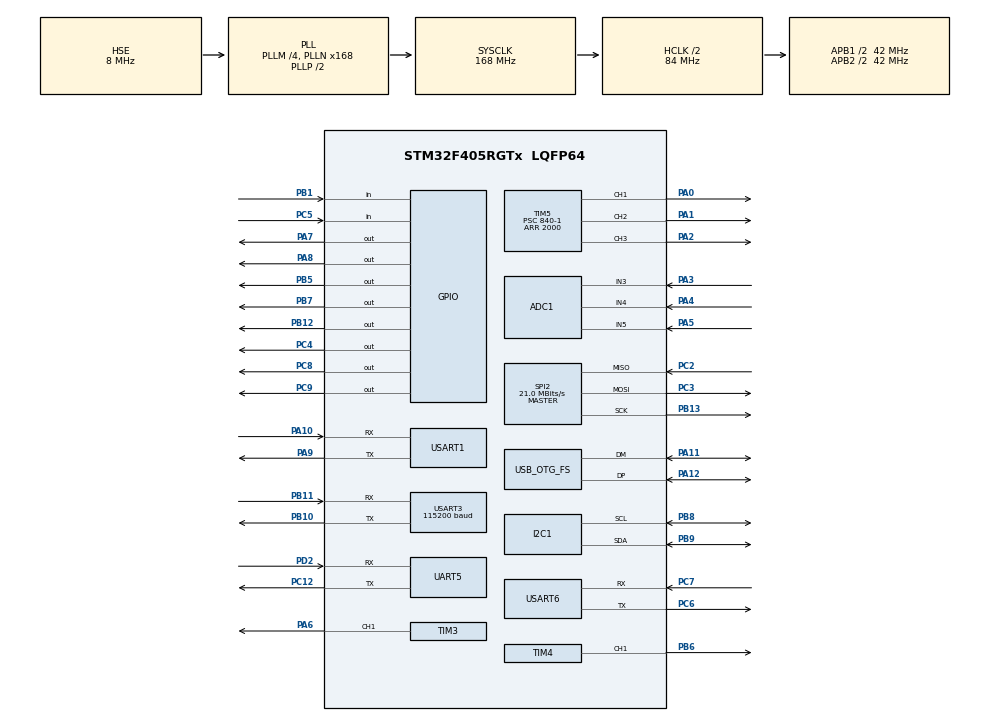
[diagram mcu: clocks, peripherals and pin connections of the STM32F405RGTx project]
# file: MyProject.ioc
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ADC1.Channel-0\#ChannelRegularConversion=ADC_CHANNEL_3
ADC1.NbrOfConversionFlag=1
ADC1.Rank-0\#ChannelRegularConversion=1
ADC1.SamplingTime-0\#ChannelRegularConversion=ADC_SAMPLETIME_3CYCLES
ADC1.master=1
Mcu.Family=STM32F4
Mcu.Name=STM32F405RGTx
Mcu.Package=LQFP64
NVIC.OTG_FS_IRQn=true\:1\:0\:true\:false\:true\:false\:true\:true
NVIC.PriorityGroup=NVIC_PRIORITYGROUP_4
NVIC.TIM1_UP_TIM10_IRQn=true\:15\:0\:true\:false\:true\:true\:true\:true
NVIC.TIM3_IRQn=true\:1\:0\:true\:false\:true\:true\:true\:true
NVIC.TIM4_IRQn=true\:1\:0\:true\:false\:true\:true\:true\:true
NVIC.UART5_IRQn=true\:1\:0\:true\:false\:true\:true\:true\:true
NVIC.USART1_IRQn=true\:1\:0\:true\:false\:true\:true\:true\:true
NVIC.USART3_IRQn=true\:1\:0\:true\:false\:true\:true\:true\:true
NVIC.USART6_IRQn=true\:1\:0\:true\:false\:true\:true\:true\:true
PA0-WKUP.Signal=S_TIM5_CH1
PA1.Signal=S_TIM5_CH2
PA10.Mode=Asynchronous
PA10.Signal=USART1_RX
PA11.Mode=Device_Only
PA11.Signal=USB_OTG_FS_DM
PA12.Mode=Device_Only
PA12.Signal=USB_OTG_FS_DP
PA13.Mode=Serial_Wire
PA13.Signal=SYS_JTMS-SWDIO
PA14.Mode=Serial_Wire
PA14.Signal=SYS_JTCK-SWCLK
PA2.Signal=S_TIM5_CH3
PA3.Signal=ADCx_IN3
PA4.Signal=ADCx_IN4
PA5.Signal=ADCx_IN5
PA6.Signal=S_TIM3_CH1
PA7.Signal=GPIO_Output
PA8.Signal=GPIO_Output
PA9.Mode=Asynchronous
PA9.Signal=USART1_TX
PB1.GPIO_PuPd=GPIO_PULLUP
PB1.Signal=GPIO_Input
PB10.Mode=Asynchronous
PB10.Signal=USART3_TX
PB11.Mode=Asynchronous
PB11.Signal=USART3_RX
PB12.Signal=GPIO_Output
PB13.Mode=Full_Duplex_Master
PB13.Signal=SPI2_SCK
PB5.PinState=GPIO_PIN_SET
PB5.Signal=GPIO_Output
PB6.Signal=S_TIM4_CH1
PB7.Signal=GPIO_Output
PB8.Mode=I2C
PB8.Signal=I2C1_SCL
PB9.Mode=I2C
PB9.Signal=I2C1_SDA
PC12.Mode=Asynchronous
PC12.Signal=UART5_TX
PC14-OSC32_IN.Mode=LSE-External-Oscillator
PC14-OSC32_IN.Signal=RCC_OSC32_IN
PC15-OSC32_OUT.Mode=LSE-External-Oscillator
PC15-OSC32_OUT.Signal=RCC_OSC32_OUT
PC2.Mode=Full_Duplex_Master
PC2.Signal=SPI2_MISO
PC3.Mode=Full_Duplex_Master
PC3.Signal=SPI2_MOSI
PC4.Signal=GPIO_Output
PC5.GPIO_PuPd=GPIO_PULLUP
PC5.Signal=GPIO_Input
PC6.Mode=Asynchronous
PC6.Signal=USART6_TX
PC7.Mode=Asynchronous
PC7.Signal=USART6_RX
PC8.Signal=GPIO_Output
PC9.Signal=GPIO_Output
PD2.Mode=Asynchronous
PD2.Signal=UART5_RX
PH0-OSC_IN.Mode=HSE-External-Oscillator
PH0-OSC_IN.Signal=RCC_OSC_IN
PH1-OSC_OUT.Mode=HSE-External-Oscillator
PH1-OSC_OUT.Signal=RCC_OSC_OUT
ProjectManager.HeapSize=0x200
ProjectManager.StackSize=0x400
ProjectManager.TargetToolchain=MDK-ARM V5.32
RCC.48MHZClocksFreq_Value=48000000
RCC.AHBCLKDivider=RCC_SYSCLK_DIV2
RCC.AHBFreq_Value=84000000
RCC.APB1CLKDivider=RCC_HCLK_DIV2
RCC.APB1Freq_Value=42000000
RCC.APB1TimFreq_Value=84000000
RCC.APB2CLKDivider=RCC_HCLK_DIV2
RCC.APB2Freq_Value=42000000
RCC.APB2TimFreq_Value=84000000
RCC.CortexFreq_Value=84000000
RCC.HCLKFreq_Value=84000000
RCC.HSE_VALUE=8000000
RCC.HSI_VALUE=16000000
RCC.PLLM=4
RCC.PLLN=168
RCC.PLLQ=7
RCC.SYSCLKFreq_VALUE=168000000
RCC.SYSCLKSource=RCC_SYSCLKSOURCE_PLLCLK
RCC.VCOOutputFreq_Value=336000000
SH.ADCx_IN3.0=ADC1_IN3,IN3
SH.ADCx_IN4.0=ADC1_IN4,IN4
SH.ADCx_IN5.0=ADC1_IN5,IN5
SH.S_TIM3_CH1.0=TIM3_CH1,PWM Generation1 CH1
SH.S_TIM4_CH1.0=TIM4_CH1,PWM Generation1 CH1
SH.S_TIM5_CH1.0=TIM5_CH1,PWM Generation1 CH1
SH.S_TIM5_CH2.0=TIM5_CH2,PWM Generation2 CH2
SH.S_TIM5_CH3.0=TIM5_CH3,PWM Generation3 CH3
SPI2.CalculateBaudRate=21.0 MBits/s
SPI2.Direction=SPI_DIRECTION_2LINES
SPI2.Mode=SPI_MODE_MASTER
SPI2.VirtualType=VM_MASTER
TIM1.Period=20000
TIM1.Prescaler=84-1
TIM3.AutoReloadPreload=TIM_AUTORELOAD_PRELOAD_ENABLE
TIM3.Channel-PWM\ Generation1\ CH1=TIM_CHANNEL_1
TIM3.Period=100
TIM3.Prescaler=525-1
TIM4.AutoReloadPreload=TIM_AUTORELOAD_PRELOAD_ENABLE
TIM4.Channel-PWM\ Generation1\ CH1=TIM_CHANNEL_1
TIM4.Period=10
TIM4.Prescaler=5250-1
TIM5.AutoReloadPreload=TIM_AUTORELOAD_PRELOAD_ENABLE
TIM5.Channel-PWM\ Generation1\ CH1=TIM_CHANNEL_1
TIM5.Channel-PWM\ Generation2\ CH2=TIM_CHANNEL_2
TIM5.Channel-PWM\ Generation3\ CH3=TIM_CHANNEL_3
TIM5.Period=2000
TIM5.Prescaler=840-1
TIM5.Pulse-PWM\ Generation1\ CH1=0
TIM5.Pulse-PWM\ Generation2\ CH2=0
TIM5.Pulse-PWM\ Generation3\ CH3=0
TIM6.AutoReloadPreload=TIM_AUTORELOAD_PRELOAD_ENABLE
TIM6.Prescaler=84
UART5.VirtualMode=Asynchronous
USART1.VirtualMode=VM_ASYNC
USART3.BaudRate=115200
USART3.VirtualMode=VM_ASYNC
USART6.VirtualMode=VM_ASYNC
USB_DEVICE.CLASS_NAME_FS=CDC
USB_DEVICE.VirtualMode-CDC_FS=Cdc
USB_DEVICE.VirtualModeFS=Cdc_FS
USB_OTG_FS.VirtualMode=Device_Only
VP_TIM1_VS_ClockSourceINT.Mode=Internal
VP_TIM3_VS_ClockSourceINT.Mode=Internal
VP_TIM4_VS_ClockSourceINT.Mode=Internal
VP_TIM5_VS_ClockSourceINT.Mode=Internal
VP_TIM6_VS_ClockSourceINT.Mode=Enable_Timer
VP_USB_DEVICE_VS_USB_DEVICE_CDC_FS.Mode=CDC_FS
board=custom

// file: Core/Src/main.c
/* USER CODE BEGIN Header */
/**
  ******************************************************************************
  * @file           : main.c
  * @brief          : Main program body
  ******************************************************************************
  * @attention
  *
  * Copyright (c) 2025 STMicroelectronics.
  * All rights reserved.
  *
  * This software is licensed under terms that can be found in the LICENSE file
  * in the root directory of this software component.
  * If no LICENSE file comes with this software, it is provided AS-IS.
  *
  ******************************************************************************
  */
/* USER CODE END Header */
#include "main.h"
#include "adc.h"
#include "i2c.h"
#include "spi.h"
#include "tim.h"
#include "usart.h"
#include "usb_device.h"
#include "gpio.h"

/* USER CODE BEGIN Includes */
#include "Tmc2209.h"
#include "Gripper.h"
#include "Debug.h"
#include <stdint.h>
#include "Led.h"
#include "Key.h"
#include "UartFace.h"
/* USER CODE END Includes */

void SystemClock_Config(void);

/* USER CODE BEGIN 0 */

int fputc(int ch, FILE *f)
{
  HAL_UART_Transmit(&DEBUG_UART, (uint8_t *)&ch, 1, 0xffff);
	return ch;
}
/* USER CODE END 0 */

int main(void)
{

  /* MCU Configuration--------------------------------------------------------*/

  /* Reset of all peripherals, Initializes the Flash interface and the Systick. */
  HAL_Init();

  /* Configure the system clock */
  SystemClock_Config();

  /* Initialize all configured peripherals */
  MX_GPIO_Init();
  MX_TIM4_Init();
  MX_USART3_UART_Init();
  MX_USART1_UART_Init();
  MX_ADC1_Init();
  MX_I2C1_Init();
  MX_SPI2_Init();
  MX_TIM3_Init();
  MX_TIM5_Init();
  MX_UART5_Init();
  MX_USART6_UART_Init();
  MX_USB_DEVICE_Init();
  MX_TIM1_Init();
  MX_TIM6_Init();
  /* USER CODE BEGIN 2 */

  LED_Init(GPIOA,GPIO_PIN_8);
  LED_Init(GPIOC,GPIO_PIN_9);
  LED_Init(GPIOC,GPIO_PIN_8);

  DebugInit();
  Bluetooth_Init();
  uart_opnemv_Init();
  servo_init();
  Key_Init();
	TMC2209_Init();
  // TMC2209_SpeedControl(&MOTOR_RIGHT_TIM,1);
  // TMC2209_SpeedControl(&MOTOR_LEFT_TIM,1);

  /* USER CODE END 2 */

  /* Infinite loop */
  /* USER CODE BEGIN WHILE */
  while (1)
  {
    // LED_Toggle(GPIOA,GPIO_PIN_8);
    // TestCopyBuffer();
    xy_stepmotor();
    HAL_Delay(1000);
//    RxBufferParse(&user_data,&buffer_rx);
//    Bluetooth_Parsedata(&user_bluetooth_data,&xbuffer_bluetooth);

    // printf("hello world\n");

    /* USER CODE END WHILE */

  }
}

void SystemClock_Config(void)
{
  RCC_OscInitTypeDef RCC_OscInitStruct = {0};
  RCC_ClkInitTypeDef RCC_ClkInitStruct = {0};

  /** Configure the main internal regulator output voltage
  */
  __HAL_RCC_PWR_CLK_ENABLE();
  __HAL_PWR_VOLTAGESCALING_CONFIG(PWR_REGULATOR_VOLTAGE_SCALE1);

  /** Initializes the RCC Oscillators according to the specified parameters
  * in the RCC_OscInitTypeDef structure.
  */
  RCC_OscInitStruct.OscillatorType = RCC_OSCILLATORTYPE_HSE;
  RCC_OscInitStruct.HSEState = RCC_HSE_ON;
  RCC_OscInitStruct.PLL.PLLState = RCC_PLL_ON;
  RCC_OscInitStruct.PLL.PLLSource = RCC_PLLSOURCE_HSE;
  RCC_OscInitStruct.PLL.PLLM = 4;
  RCC_OscInitStruct.PLL.PLLN = 168;
  RCC_OscInitStruct.PLL.PLLP = RCC_PLLP_DIV2;
  RCC_OscInitStruct.PLL.PLLQ = 7;
  if (HAL_RCC_OscConfig(&RCC_OscInitStruct) != HAL_OK)
  {
    Error_Handler();
  }

  /** Initializes the CPU, AHB and APB buses clocks
  */
  RCC_ClkInitStruct.ClockType = RCC_CLOCKTYPE_HCLK|RCC_CLOCKTYPE_SYSCLK
                              |RCC_CLOCKTYPE_PCLK1|RCC_CLOCKTYPE_PCLK2;
  RCC_ClkInitStruct.SYSCLKSource = RCC_SYSCLKSOURCE_PLLCLK;
  RCC_ClkInitStruct.AHBCLKDivider = RCC_SYSCLK_DIV2;
  RCC_ClkInitStruct.APB1CLKDivider = RCC_HCLK_DIV2;
  RCC_ClkInitStruct.APB2CLKDivider = RCC_HCLK_DIV2;

  if (HAL_RCC_ClockConfig(&RCC_ClkInitStruct, FLASH_LATENCY_2) != HAL_OK)
  {
    Error_Handler();
  }
}

void Error_Handler(void)
{
  __disable_irq();
  while (1)
  {
  }
}
